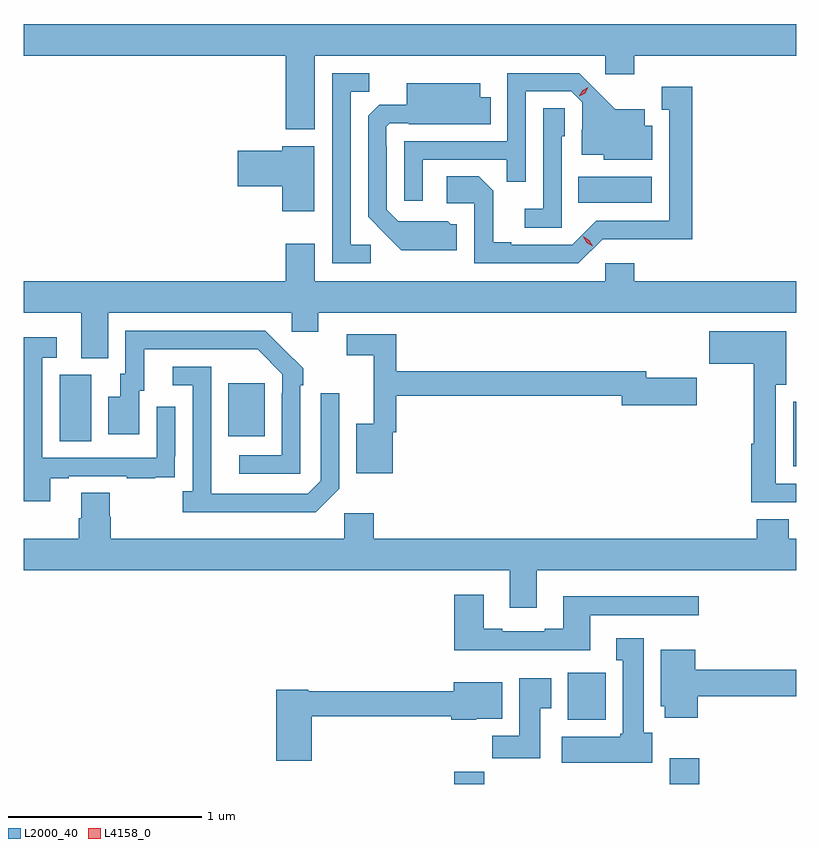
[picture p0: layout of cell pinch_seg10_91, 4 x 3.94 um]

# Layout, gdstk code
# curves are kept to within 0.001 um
import gdstk
lib = gdstk.Library(unit=1e-6, precision=1e-09)
def R(c, l, rs):  # rectangles x0, y0, x1, y1
    for r in rs: c.add(gdstk.rectangle(r[:2], r[2:], *l))
def P(c, l, *ps):  # polygons
    for p in ps: c.add(gdstk.Polygon(p, *l))
L2000_40 = (2000, 40)
L4158_0 = (4158, 0)

pinch_seg10_91 = lib.new_cell('pinch_seg10_91')
R(pinch_seg10_91, L2000_40, [(724.583,1288.553,724.739,1288.616), (725.699,1288.553,725.852,1288.687), (725.171,1288.886,725.368,1289.128), (726.338,1290.197,726.354,1290.532), (722.54,1290.328,722.704,1290.672), (723.413,1290.353,723.601,1290.628), (725.224,1291.562,725.605,1291.696)])
P(pinch_seg10_91, L2000_40, [(723.862,1292.324),(725.364,1292.324),(725.364,1292.229),(725.516,1292.229),(725.516,1292.324),(726.354,1292.324),(726.354,1292.488),(722.354,1292.488),(722.354,1292.324),(723.71,1292.324),(723.71,1291.944),(723.862,1291.944)],
  [(724.419,1291.785),(724.855,1291.785),(724.855,1291.672),(724.953,1291.672),(724.953,1292.139),(725.19,1292.139),(725.247,1292.082),(725.247,1291.94),(725.243,1291.94),(725.243,1291.811),(725.358,1291.811),(725.358,1291.784),(725.608,1291.784),(725.608,1291.96),(725.569,1291.96),(725.569,1292.047),(725.417,1292.047),(725.23,1292.232),(724.857,1292.232),(724.857,1291.881),(724.323,1291.881),(724.323,1291.572),(724.419,1291.572)],
  [(724.15,1291.344),(724.047,1291.344),(724.047,1292.137),(724.143,1292.137),(724.143,1292.232),(723.951,1292.232),(723.951,1291.248),(724.15,1291.248)],
  [(724.597,1291.452),(724.566,1291.452),(724.55,1291.468),(724.293,1291.467),(724.233,1291.527),(724.233,1291.856),(724.23,1291.856),(724.23,1291.956),(724.248,1291.974),(724.348,1291.974),(724.348,1291.97),(724.772,1291.97),(724.772,1292.11),(724.717,1292.11),(724.717,1292.182),(724.337,1292.182),(724.337,1292.071),(724.196,1292.071),(724.137,1292.012),(724.137,1291.49),(724.309,1291.316),(724.597,1291.316)],
  [(725.352,1291.374),(725.815,1291.373),(725.815,1292.164),(725.657,1292.164),(725.657,1292.043),(725.696,1292.043),(725.696,1291.47),(725.319,1291.47),(725.193,1291.344),(724.879,1291.344),(724.879,1291.357),(724.785,1291.357),(724.785,1291.624),(724.709,1291.7),(724.545,1291.7),(724.545,1291.56),(724.686,1291.56),(724.686,1291.248),(725.226,1291.248)],
  [(725.139,1291.908),(725.154,1291.908),(725.154,1292.051),(725.043,1292.051),(725.043,1291.531),(724.947,1291.531),(724.947,1291.434),(725.139,1291.434)],
  [(723.859,1291.855),(723.692,1291.855),(723.692,1291.832),(723.462,1291.832),(723.462,1291.649),(723.692,1291.649),(723.692,1291.518),(723.859,1291.518)],
  [(722.791,1290.992),(723.741,1290.992),(723.741,1290.894),(723.88,1290.894),(723.88,1290.992),(726.354,1290.992),(726.354,1291.156),(725.516,1291.156),(725.516,1291.249),(725.364,1291.249),(725.364,1291.156),(723.862,1291.156),(723.862,1291.351),(723.71,1291.351),(723.71,1291.156),(722.354,1291.156),(722.354,1290.992),(722.651,1290.992),(722.651,1290.757),(722.791,1290.757)],
  [(723.786,1290.617),(723.801,1290.617),(723.801,1290.705),(723.604,1290.9),(722.88,1290.9),(722.88,1290.678),(722.855,1290.678),(722.855,1290.559),(722.792,1290.559),(722.792,1290.363),(722.953,1290.363),(722.953,1290.588),(722.977,1290.588),(722.977,1290.804),(723.565,1290.804),(723.693,1290.675),(723.693,1290.575),(723.69,1290.575),(723.69,1290.255),(723.471,1290.255),(723.471,1290.159),(723.786,1290.159)],
  [(726.354,1290.108),(726.247,1290.108),(726.247,1290.62),(726.301,1290.62),(726.301,1290.898),(725.904,1290.898),(725.904,1290.728),(726.134,1290.728),(726.134,1290.315),(726.122,1290.315),(726.122,1290.011),(726.354,1290.011)],
  [(724.264,1290.375),(724.283,1290.375),(724.283,1290.562),(725.45,1290.562),(725.45,1290.515),(725.839,1290.515),(725.839,1290.657),(725.578,1290.657),(725.578,1290.691),(724.283,1290.691),(724.283,1290.882),(724.026,1290.882),(724.026,1290.774),(724.166,1290.774),(724.166,1290.418),(724.076,1290.418),(724.076,1290.161),(724.264,1290.161)],
  [(722.491,1290.135),(722.587,1290.135),(722.587,1290.147),(722.887,1290.147),(722.887,1290.135),(723.035,1290.135),(723.035,1290.141),(723.137,1290.141),(723.137,1290.25),(723.138,1290.25),(723.138,1290.505),(723.042,1290.505),(723.042,1290.243),(722.451,1290.243),(722.451,1290.759),(722.524,1290.759),(722.524,1290.865),(722.354,1290.865),(722.354,1290.018),(722.491,1290.018)],
  [(723.987,1290.081),(723.987,1290.577),(723.891,1290.577),(723.891,1290.123),(723.825,1290.057),(723.325,1290.057),(723.324,1290.714),(723.126,1290.714),(723.126,1290.618),(723.228,1290.618),(723.228,1290.07),(723.177,1290.07),(723.177,1289.96),(723.866,1289.96)],
  [(725.011,1289.66),(726.354,1289.66),(726.354,1289.824),(726.314,1289.824),(726.314,1289.923),(726.149,1289.923),(726.149,1289.824),(724.166,1289.824),(724.166,1289.956),(724.014,1289.956),(724.014,1289.824),(722.804,1289.824),(722.804,1289.937),(722.799,1289.937),(722.799,1290.062),(722.651,1290.062),(722.651,1289.93),(722.639,1289.93),(722.639,1289.824),(722.354,1289.824),(722.354,1289.66),(724.871,1289.66),(724.871,1289.466),(725.011,1289.466)],
  [(725.287,1289.427),(725.848,1289.427),(725.848,1289.524),(725.147,1289.524),(725.147,1289.356),(725.051,1289.356),(725.051,1289.343),(724.831,1289.343),(724.831,1289.356),(724.735,1289.356),(724.735,1289.533),(724.583,1289.533),(724.583,1289.246),(725.287,1289.246)],
  [(725.608,1288.818),(725.563,1288.818),(725.563,1289.308),(725.423,1289.308),(725.423,1289.195),(725.456,1289.195),(725.456,1288.812),(725.443,1288.812),(725.443,1288.798),(725.139,1288.798),(725.139,1288.664),(725.608,1288.664)],
  [(725.843,1289.008),(726.354,1289.008),(726.354,1289.144),(725.83,1289.144),(725.83,1289.248),(725.651,1289.248),(725.651,1288.956),(725.672,1288.956),(725.672,1288.896),(725.843,1288.896)],
  [(725.029,1288.945),(725.086,1288.945),(725.086,1289.101),(724.919,1289.101),(724.919,1288.804),(724.78,1288.804),(724.78,1288.686),(725.029,1288.686)],
  [(723.845,1288.905),(724.568,1288.905),(724.568,1288.886),(724.698,1288.886),(724.698,1288.892),(724.831,1288.892),(724.831,1289.08),(724.58,1289.08),(724.58,1289.033),(723.828,1289.033),(723.828,1289.041),(723.662,1289.041),(723.662,1288.674),(723.845,1288.674)])
P(pinch_seg10_91, L4158_0, [(725.299,1291.336),(725.268,1291.355),(725.25,1291.387),(725.25,1291.388),(725.25,1291.388),(725.282,1291.369),(725.3,1291.336),(725.3,1291.336)],
  [(725.23,1292.115),(725.23,1292.116),(725.248,1292.145),(725.278,1292.16),(725.278,1292.16),(725.278,1292.16),(725.261,1292.13),(725.231,1292.115)])

lib.write_gds('pinch_seg10_91.gds')
